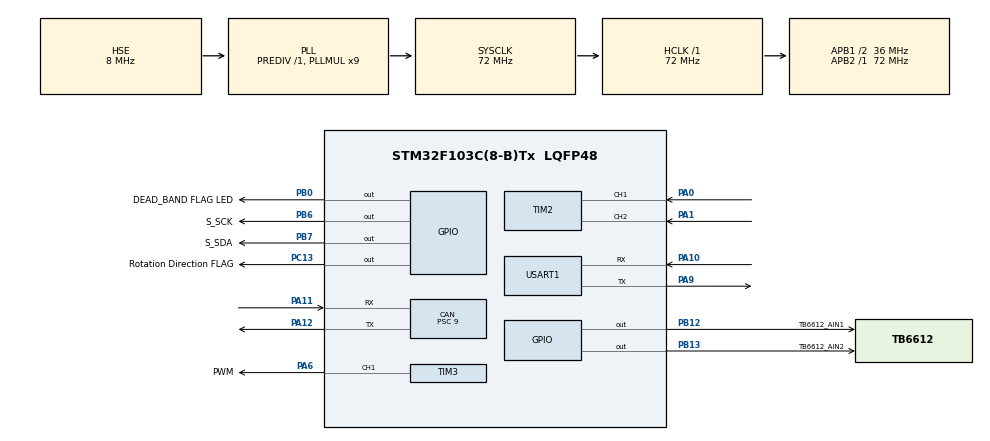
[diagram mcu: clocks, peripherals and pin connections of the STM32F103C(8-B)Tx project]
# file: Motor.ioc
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CAN.ABOM=ENABLE
CAN.BS1=CAN_BS1_6TQ
CAN.CalculateBaudRate=500000
CAN.CalculateTimeBit=2000
CAN.CalculateTimeQuantum=250.0
CAN.NART=ENABLE
CAN.Prescaler=9
FREERTOS.Tasks01=defaultTask,24,128,StartDefaultTask,Default,NULL,Dynamic,NULL,NULL;ControlTask,44,512,prvControlTask,Default,NULL,Dynamic,NULL,NULL;UartTask,43,256,prvUartTask,Default,NULL,Dynamic,NULL,NULL;OledTask,41,256,prvOledTask,Default,NULL,Dynamic,NULL,NULL;StatusReport,42,128,prvStatusReport,Default,NULL,Dynamic,NULL,NULL
FREERTOS.configCHECK_FOR_STACK_OVERFLOW=2
FREERTOS.configMAX_PRIORITIES=7
FREERTOS.configTOTAL_HEAP_SIZE=10240
Mcu.Family=STM32F1
Mcu.Name=STM32F103C(8-B)Tx
Mcu.Package=LQFP48
NVIC.CAN1_RX1_IRQn=true\:5\:0\:false\:false\:true\:true\:true\:true\:true
NVIC.PriorityGroup=NVIC_PRIORITYGROUP_4
NVIC.TIM4_IRQn=true\:15\:0\:false\:false\:true\:false\:false\:true\:true
NVIC.TimeBase=TIM4_IRQn
NVIC.TimeBaseIP=TIM4
NVIC.USART1_IRQn=true\:6\:0\:true\:false\:true\:true\:true\:true\:true
PA0-WKUP.GPIO_PuPd=GPIO_PULLUP
PA0-WKUP.Signal=S_TIM2_CH1_ETR
PA1.GPIO_PuPd=GPIO_PULLUP
PA1.Signal=S_TIM2_CH2
PA10.Mode=Asynchronous
PA10.Signal=USART1_RX
PA11.GPIO_PuPd=GPIO_PULLUP
PA11.Mode=CAN_Activate
PA11.Signal=CAN_RX
PA12.Mode=CAN_Activate
PA12.Signal=CAN_TX
PA13.Mode=Serial_Wire
PA13.Signal=SYS_JTMS-SWDIO
PA14.Mode=Serial_Wire
PA14.Signal=SYS_JTCK-SWCLK
PA6.GPIO_Label=PWM
PA6.Signal=S_TIM3_CH1
PA9.Mode=Asynchronous
PA9.Signal=USART1_TX
PB0.GPIO_Label=DEAD_BAND FLAG LED
PB0.Signal=GPIO_Output
PB12.GPIO_Label=TB6612_AIN1
PB12.Signal=GPIO_Output
PB13.GPIO_Label=TB6612_AIN2
PB13.Signal=GPIO_Output
PB6.GPIO_Label=S_SCK
PB6.GPIO_ModeDefaultOutputPP=GPIO_MODE_OUTPUT_PP
PB6.GPIO_PuPd=GPIO_NOPULL
PB6.GPIO_Speed=GPIO_SPEED_FREQ_HIGH
PB6.PinState=GPIO_PIN_SET
PB6.Signal=GPIO_Output
PB7.GPIO_Label=S_SDA
PB7.GPIO_ModeDefaultOutputPP=GPIO_MODE_OUTPUT_PP
PB7.GPIO_PuPd=GPIO_NOPULL
PB7.GPIO_Speed=GPIO_SPEED_FREQ_HIGH
PB7.PinState=GPIO_PIN_SET
PB7.Signal=GPIO_Output
PC13-TAMPER-RTC.GPIO_Label=Rotation Direction FLAG
PC13-TAMPER-RTC.GPIO_ModeDefaultOutputPP=GPIO_MODE_OUTPUT_OD
PC13-TAMPER-RTC.GPIO_PuPd=GPIO_NOPULL
PC13-TAMPER-RTC.GPIO_Speed=GPIO_SPEED_FREQ_LOW
PC13-TAMPER-RTC.PinState=GPIO_PIN_SET
PC13-TAMPER-RTC.Signal=GPIO_Output
PD0-OSC_IN.Mode=HSE-External-Oscillator
PD0-OSC_IN.Signal=RCC_OSC_IN
PD1-OSC_OUT.Mode=HSE-External-Oscillator
PD1-OSC_OUT.Signal=RCC_OSC_OUT
ProjectManager.HeapSize=0x200
ProjectManager.StackSize=0x400
ProjectManager.TargetToolchain=MDK-ARM V5.32
RCC.AHBFreq_Value=72000000
RCC.APB1CLKDivider=RCC_HCLK_DIV2
RCC.APB1Freq_Value=36000000
RCC.APB1TimFreq_Value=72000000
RCC.APB2Freq_Value=72000000
RCC.APB2TimFreq_Value=72000000
RCC.HCLKFreq_Value=72000000
RCC.PLLMUL=RCC_PLL_MUL9
RCC.PLLSourceVirtual=RCC_PLLSOURCE_HSE
RCC.SYSCLKFreq_VALUE=72000000
RCC.SYSCLKSource=RCC_SYSCLKSOURCE_PLLCLK
RCC.USBFreq_Value=72000000
SH.S_TIM2_CH1_ETR.0=TIM2_CH1,Encoder_Interface
SH.S_TIM2_CH2.0=TIM2_CH2,Encoder_Interface
SH.S_TIM3_CH1.0=TIM3_CH1,PWM Generation1 CH1
TIM2.EncoderMode=TIM_ENCODERMODE_TI12
TIM2.IC1Filter=6
TIM2.IC2Filter=10
TIM3.AutoReloadPreload=TIM_AUTORELOAD_PRELOAD_ENABLE
TIM3.Channel-PWM\ Generation1\ CH1=TIM_CHANNEL_1
TIM3.Period=1799
TIM3.Prescaler=3
USART1.VirtualMode=VM_ASYNC
VP_FREERTOS_VS_CMSIS_V2.Mode=CMSIS_V2
VP_SYS_VS_tim4.Mode=TIM4
VP_TIM3_VS_ClockSourceINT.Mode=Internal
board=custom

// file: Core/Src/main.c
/* USER CODE BEGIN Header */
/**
  ******************************************************************************
  * @file           : main.c
  * @brief          : Main program body
  ******************************************************************************
  * @attention
  *
  * Copyright (c) 2026 STMicroelectronics.
  * All rights reserved.
  *
  * This software is licensed under terms that can be found in the LICENSE file
  * in the root directory of this software component.
  * If no LICENSE file comes with this software, it is provided AS-IS.
  *
  ******************************************************************************
  */
/* USER CODE END Header */
#include "main.h"
#include "cmsis_os.h"
#include "can.h"
#include "tim.h"
#include "usart.h"
#include "gpio.h"

/* USER CODE BEGIN Includes */
#include <stdio.h>
#include "pid.h"
#include "my_u8g2.h"
#include "convention.h"

/* USER CODE END Includes */

/* USER CODE BEGIN PTD */
PID_InitTypeDef hpid = {0};
osMessageQueueId_t can_queue;
osMessageQueueId_t uart_queue;

/* USER CODE END PTD */

/* USER CODE BEGIN PD */
static uint8_t Rx_byte;
static CAN_struct CAN_Rx = {0};
static char Rx_USART1_cmd[30];
static uint8_t indexofcmd = 0;
u8g2_t u8g2;

/* USER CODE END PD */

void SystemClock_Config(void);
void MX_FREERTOS_Init(void);
/* USER CODE BEGIN PFP */
void HAL_UART_RxCpltCallback(UART_HandleTypeDef *huart);
void HAL_CAN_RxFifo1MsgPendingCallback(CAN_HandleTypeDef *can);
int fputc(int ch, FILE *f);

/* USER CODE END PFP */

int main(void)
{

  /* MCU Configuration--------------------------------------------------------*/

  /* Reset of all peripherals, Initializes the Flash interface and the Systick. */
  HAL_Init();

  /* Configure the system clock */
  SystemClock_Config();

  /* Initialize all configured peripherals */
  MX_GPIO_Init();
  MX_TIM2_Init();
  MX_TIM3_Init();
  MX_USART1_UART_Init();
  MX_CAN_Init();
  /* USER CODE BEGIN 2 */
	/* * * CAN 过滤器 * * */
	CAN_FilterTypeDef sFilterConfig;

	sFilterConfig.FilterBank = 0;
	sFilterConfig.FilterMode = CAN_FILTERMODE_IDMASK;
	sFilterConfig.FilterScale = CAN_FILTERSCALE_16BIT;
	sFilterConfig.FilterFIFOAssignment = CAN_FILTER_FIFO1;
	sFilterConfig.FilterActivation = ENABLE;
	sFilterConfig.FilterIdHigh = 0x010 << 5;
	sFilterConfig.FilterIdLow = 0x0000;
	sFilterConfig.FilterMaskIdHigh = 0x7F0 << 5;
	sFilterConfig.FilterMaskIdLow = 0x0000;

	HAL_CAN_ConfigFilter(&hcan, &sFilterConfig);
	HAL_CAN_Start(&hcan);
	HAL_CAN_ActivateNotification(&hcan, CAN_IT_RX_FIFO1_MSG_PENDING);
	/* * * CAN 过滤器 * * */
	PID_Init(&hpid);
	HAL_TIM_PWM_Start(&htim3, TIM_CHANNEL_1);
	HAL_TIM_Encoder_Start(&htim2, TIM_CHANNEL_ALL);
	u8g2Init(&u8g2);

	can_queue = osMessageQueueNew(5, sizeof(CAN_struct), NULL);
	uart_queue = osMessageQueueNew(5, sizeof(Rx_USART1_cmd), NULL);

	u8g2_SetFont(&u8g2, u8g2_font_6x10_tf);
	u8g2_DrawStr(&u8g2, 0, 12, "SYSTEM IS READY.");
	u8g2_DrawStr(&u8g2, 0, 24, "Set target speed send:");
	u8g2_DrawStr(&u8g2, 8, 36, "SET [target speed]"); // example：SET 50
	u8g2_DrawStr(&u8g2, 0, 48, "Set PID send:");
	u8g2_DrawStr(&u8g2, 8, 60, "KP[Kp] KI[Ki] KD[Kd]"); // example：KP36.0 KI1.7 KD0.0
	u8g2_SendBuffer(&u8g2);

	HAL_UART_Receive_IT(&huart1, &Rx_byte, 1);
  /* USER CODE END 2 */

  /* Init scheduler */
  osKernelInitialize();  /* Call init function for freertos objects (in cmsis_os2.c) */
  MX_FREERTOS_Init();

  /* Start scheduler */
  osKernelStart();

  /* We should never get here as control is now taken by the scheduler */

  /* Infinite loop */
  while (1)
  {

  }
}

void SystemClock_Config(void)
{
  RCC_OscInitTypeDef RCC_OscInitStruct = {0};
  RCC_ClkInitTypeDef RCC_ClkInitStruct = {0};

  /** Initializes the RCC Oscillators according to the specified parameters
  * in the RCC_OscInitTypeDef structure.
  */
  RCC_OscInitStruct.OscillatorType = RCC_OSCILLATORTYPE_HSE;
  RCC_OscInitStruct.HSEState = RCC_HSE_ON;
  RCC_OscInitStruct.HSEPredivValue = RCC_HSE_PREDIV_DIV1;
  RCC_OscInitStruct.HSIState = RCC_HSI_ON;
  RCC_OscInitStruct.PLL.PLLState = RCC_PLL_ON;
  RCC_OscInitStruct.PLL.PLLSource = RCC_PLLSOURCE_HSE;
  RCC_OscInitStruct.PLL.PLLMUL = RCC_PLL_MUL9;
  if (HAL_RCC_OscConfig(&RCC_OscInitStruct) != HAL_OK)
  {
    Error_Handler();
  }

  /** Initializes the CPU, AHB and APB buses clocks
  */
  RCC_ClkInitStruct.ClockType = RCC_CLOCKTYPE_HCLK|RCC_CLOCKTYPE_SYSCLK
                              |RCC_CLOCKTYPE_PCLK1|RCC_CLOCKTYPE_PCLK2;
  RCC_ClkInitStruct.SYSCLKSource = RCC_SYSCLKSOURCE_PLLCLK;
  RCC_ClkInitStruct.AHBCLKDivider = RCC_SYSCLK_DIV1;
  RCC_ClkInitStruct.APB1CLKDivider = RCC_HCLK_DIV2;
  RCC_ClkInitStruct.APB2CLKDivider = RCC_HCLK_DIV1;

  if (HAL_RCC_ClockConfig(&RCC_ClkInitStruct, FLASH_LATENCY_2) != HAL_OK)
  {
    Error_Handler();
  }
}

/* USER CODE BEGIN 4 */
void HAL_UART_RxCpltCallback(UART_HandleTypeDef *huart)
{
	if(huart->Instance == USART1)
	{
		Rx_USART1_cmd[indexofcmd++] = Rx_byte;
		if(Rx_byte == '\r' || Rx_byte == '\n' || indexofcmd == 29)
		{
			Rx_USART1_cmd[indexofcmd] = '\0';

			osMessageQueuePut(uart_queue, (void *)Rx_USART1_cmd, 0, 0);

			indexofcmd = 0;
			Rx_USART1_cmd[0] = '\0';
		}

		HAL_UART_Receive_IT(&huart1, &Rx_byte, 1);
	}
}

void HAL_CAN_RxFifo1MsgPendingCallback(CAN_HandleTypeDef *hcan)
{
	if(hcan->Instance == CAN1)
	{
		CAN_RxHeaderTypeDef RxHeader;

		if(HAL_CAN_GetRxMessage(hcan, CAN_RX_FIFO1, &RxHeader, CAN_Rx.Can_data) == HAL_OK)
		{
			CAN_Rx.Can_Id = RxHeader.StdId;
			osMessageQueuePut(can_queue, (void *)&CAN_Rx, 0, 0);
		}
	}
}

int fputc(int ch, FILE *f)
{
	HAL_UART_Transmit(&huart1, (uint8_t *)&ch, 1, HAL_MAX_DELAY);
	return ch;
}

/* USER CODE END 4 */

void HAL_TIM_PeriodElapsedCallback(TIM_HandleTypeDef *htim)
{
  if (htim->Instance == TIM4)
  {
    HAL_IncTick();
  }
}

void Error_Handler(void)
{
  __disable_irq();
  while (1)
  {
  }
}

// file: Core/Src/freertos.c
/* USER CODE BEGIN Header */
/**
  ******************************************************************************
  * File Name          : freertos.c
  * Description        : Code for freertos applications
  ******************************************************************************
  * @attention
  *
  * Copyright (c) 2026 STMicroelectronics.
  * All rights reserved.
  *
  * This software is licensed under terms that can be found in the LICENSE file
  * in the root directory of this software component.
  * If no LICENSE file comes with this software, it is provided AS-IS.
  *
  ******************************************************************************
  */
/* USER CODE END Header */

#include "FreeRTOS.h"
#include "task.h"
#include "main.h"
#include "cmsis_os.h"

/* USER CODE BEGIN Includes */
#include <stdio.h>
#include "pid.h"
#include "encoder.h"
#include "u8g2.h"
#include "tim.h"
//#include "drawPID.h"
#include "convention.h"
#include "can.h"

/* USER CODE END Includes */

/* USER CODE BEGIN PTD */
extern PID_InitTypeDef hpid;
extern osMessageQueueId_t can_queue;
extern osMessageQueueId_t uart_queue;

/* USER CODE END PTD */

/* USER CODE BEGIN PD */
static uint8_t UartNewCmd_flag = 0;
static uint8_t CanNewCmd_flag = 0;
static uint8_t Heart_flag = 0;
extern u8g2_t u8g2;
//static int8_t actual_buf[POINT_NUM];
//static int8_t target_buf[POINT_NUM];
static uint32_t last_HeartBeat = 0;
static CAN_struct CAN_Tx = {0};
static float last_speed = 0.0f;

/* USER CODE END PD */

/* Definitions for defaultTask */
osThreadId_t defaultTaskHandle;
const osThreadAttr_t defaultTask_attributes = {
  .name = "defaultTask",
  .stack_size = 128 * 4,
  .priority = (osPriority_t) osPriorityNormal,
};
/* Definitions for ControlTask */
osThreadId_t ControlTaskHandle;
const osThreadAttr_t ControlTask_attributes = {
  .name = "ControlTask",
  .stack_size = 512 * 4,
  .priority = (osPriority_t) osPriorityHigh4,
};
/* Definitions for UartTask */
osThreadId_t UartTaskHandle;
const osThreadAttr_t UartTask_attributes = {
  .name = "UartTask",
  .stack_size = 256 * 4,
  .priority = (osPriority_t) osPriorityHigh3,
};
/* Definitions for OledTask */
osThreadId_t OledTaskHandle;
const osThreadAttr_t OledTask_attributes = {
  .name = "OledTask",
  .stack_size = 256 * 4,
  .priority = (osPriority_t) osPriorityHigh1,
};
/* Definitions for StatusReport */
osThreadId_t StatusReportHandle;
const osThreadAttr_t StatusReport_attributes = {
  .name = "StatusReport",
  .stack_size = 128 * 4,
  .priority = (osPriority_t) osPriorityHigh2,
};

void StartDefaultTask(void *argument);
void prvControlTask(void *argument);
void prvUartTask(void *argument);
void prvOledTask(void *argument);
void prvStatusReport(void *argument);

void MX_FREERTOS_Init(void); /* (MISRA C 2004 rule 8.1) */

/* Hook prototypes */
void vApplicationStackOverflowHook(xTaskHandle xTask, signed char *pcTaskName);

/* USER CODE BEGIN 4 */
void vApplicationStackOverflowHook(xTaskHandle xTask, signed char *pcTaskName)
{
   /* Run time stack overflow checking is performed if
   configCHECK_FOR_STACK_OVERFLOW is defined to 1 or 2. This hook function is
   called if a stack overflow is detected. */
}
/* USER CODE END 4 */

void MX_FREERTOS_Init(void) {

  /* Create the thread(s) */
  /* creation of defaultTask */
  defaultTaskHandle = osThreadNew(StartDefaultTask, NULL, &defaultTask_attributes);

  /* creation of ControlTask */
  ControlTaskHandle = osThreadNew(prvControlTask, NULL, &ControlTask_attributes);

  /* creation of UartTask */
  UartTaskHandle = osThreadNew(prvUartTask, NULL, &UartTask_attributes);

  /* creation of OledTask */
  OledTaskHandle = osThreadNew(prvOledTask, NULL, &OledTask_attributes);

  /* creation of StatusReport */
  StatusReportHandle = osThreadNew(prvStatusReport, NULL, &StatusReport_attributes);

}

void StartDefaultTask(void *argument)
{
  for(;;)
  {
  }
}

void prvControlTask(void *argument)
{
  /* USER CODE BEGIN prvControlTask */
	TickType_t xlast_time = xTaskGetTickCount();

  /* Infinite loop */
  for(;;)
  {
		// #1.检查can队列
		static CAN_struct RxfromQueuebufStruct = {0};
		while(osMessageQueueGet(can_queue, (void *)&RxfromQueuebufStruct, NULL, 0) == osOK)
		{
			if(RxfromQueuebufStruct.Can_Id == CAN_ID_MASTER_HEARTBEAT)
			{
				last_HeartBeat = HAL_GetTick();
				Heart_flag = 1;
			}

			if(Heart_flag) // 心跳是否正常
			{
				if(RxfromQueuebufStruct.Can_Id == CAN_ID_MOTOR1_TARGET_SPEED)
				{
					static uint16_t u_target_speed = 0;

					u_target_speed = RxfromQueuebufStruct.Can_data[0] + (RxfromQueuebufStruct.Can_data[1] << 8);

					float target_speed = ((float)((int16_t)u_target_speed)) / 100.0f;

					PID_SetTarget_Speed(&hpid, target_speed);

					CanNewCmd_flag++;
				}
				else if(RxfromQueuebufStruct.Can_Id == CAN_ID_MOTOR1_PID)
				{
					static uint16_t temp_kp = 0, temp_ki = 0, temp_kd = 0;

					temp_kp = RxfromQueuebufStruct.Can_data[0] + (RxfromQueuebufStruct.Can_data[1] << 8);
					temp_ki = RxfromQueuebufStruct.Can_data[2] + (RxfromQueuebufStruct.Can_data[3] << 8);
					temp_kd = RxfromQueuebufStruct.Can_data[4] + (RxfromQueuebufStruct.Can_data[5] << 8);

					float can_kp = ((float)temp_kp) / 100.0f;
					float can_ki = ((float)temp_ki) / 100.0f;
					float can_kd = ((float)temp_kd) / 100.0f;

					PID_SetPID(&hpid, can_kp, can_ki ,can_kd);

					CanNewCmd_flag++;
				}
			}
		}

		if(HAL_GetTick() - last_HeartBeat >= EMERGENCY_TIME) // 长时间心跳丢失
		{
			Heart_flag = 0;
		}

		// #2.检查uart队列
		static char RxfromQueuebufArr[30];
		while(osMessageQueueGet(uart_queue, (void *)RxfromQueuebufArr, NULL, 0) == osOK)
		{
			static float temp_kp = 0.0f;
			static float temp_ki = 0.0f;
			static float temp_kd = 0.0f;
			static float target_speed = 0.0f;

			if(sscanf(RxfromQueuebufArr, "SET%f", &target_speed) == 1)
			{
				PID_SetTarget_Speed(&hpid, target_speed);
				UartNewCmd_flag++;
			}
			else if(sscanf(RxfromQueuebufArr, "KP%f KI%f KD%f", &temp_kp, &temp_ki, &temp_kd) == 3)
			{
				PID_SetPID(&hpid, temp_kp, temp_ki, temp_kd);
				UartNewCmd_flag++;
			}
		}

		// #3.获取当前速度
		float current_speed = GetCurrent_Speed(4, 11, 103, last_speed);
		last_speed = current_speed;

		// #4.更新当前速度
		PID_UpdateCurrent_Speed(&hpid, current_speed);

//		add_to_buf(actual_buf, hpid.Current_Speed);
//		add_to_buf(target_buf, hpid.Target_Speed);

		// #5.计算PWM，判断是否反转电机
		int16_t PWM = PID_Calc(&hpid);

		if(PWM >= 0.0f)
		{
			HAL_GPIO_WritePin(GPIOB, GPIO_PIN_12, GPIO_PIN_SET);
			HAL_GPIO_WritePin(GPIOB, GPIO_PIN_13, GPIO_PIN_RESET);
			HAL_GPIO_WritePin(GPIOC, GPIO_PIN_13, GPIO_PIN_RESET);
		}
		else
		{
			PWM = -PWM;
			HAL_GPIO_WritePin(GPIOB, GPIO_PIN_12, GPIO_PIN_RESET);
			HAL_GPIO_WritePin(GPIOB, GPIO_PIN_13, GPIO_PIN_SET);
			HAL_GPIO_WritePin(GPIOC, GPIO_PIN_13, GPIO_PIN_SET);
		}

		// #6.更新PWM占空比
		__HAL_TIM_SET_COMPARE(&htim3, TIM_CHANNEL_1, PWM);

		// #7.“睡”20ms
		vTaskDelayUntil(&xlast_time, pdMS_TO_TICKS(20));
	}

  /* USER CODE END prvControlTask */
}

void prvUartTask(void *argument)
{
  /* USER CODE BEGIN prvUartTask */
  /* Infinite loop */
  for(;;)
  {
    printf("%.2f,%.2f\r\n", hpid.Current_Speed, hpid.Target_Speed);
		osDelay(50);
  }
  /* USER CODE END prvUartTask */
}

void prvOledTask(void *argument)
{
  /* USER CODE BEGIN prvOledTask */
  /* Infinite loop */
  for(;;)
  {
		u8g2_ClearBuffer(&u8g2);

		// #1.是否有来自Master命令
		if(CanNewCmd_flag > 0)
		{
			u8g2_DrawStr(&u8g2, 0, 60, "CAN CMD SUCCESS.");

			CanNewCmd_flag = 0;
		}

		if(!Heart_flag) // 心跳丢失
		{
			u8g2_DrawStr(&u8g2, 0, 12, "MASTER ERROR!!");
			u8g2_DrawStr(&u8g2, 0, 24, "MASTER ERROR!!");
			u8g2_DrawStr(&u8g2, 0, 36, "MASTER ERROR!!");
			u8g2_DrawStr(&u8g2, 0, 48, "--ONLY UART NOW.");
		}
		else
		{
			u8g2_DrawStr(&u8g2, 0, 12, "MASTER RUNNING...");
			u8g2_DrawStr(&u8g2, 0, 24, "MASTER RUNNING...");
			u8g2_DrawStr(&u8g2, 0, 36, "MASTER RUNNING...");
			u8g2_DrawStr(&u8g2, 0, 48, "--MASTER OR UART.");
		}

		// #2.是否有来自串口新命令
		if(UartNewCmd_flag)
		{
			u8g2_DrawStr(&u8g2, 0, 60, "UART CMD SUCCESS.");

			UartNewCmd_flag = 0;
		}

		u8g2_SendBuffer(&u8g2);
//    draw_speed_curve(actual_buf, target_buf);
		osDelay(100);
  }
  /* USER CODE END prvOledTask */
}

void prvStatusReport(void *argument)
{
  /* USER CODE BEGIN prvStatusReport */
  /* Infinite loop */
  for(;;)
  {
		static CAN_TxHeaderTypeDef TxHeader;

		TxHeader.StdId = CAN_ID_MOTOR1_STATUS;
		TxHeader.IDE = CAN_ID_STD;
		TxHeader.DLC = CAN_DLC_MOTOR1_STATUS;
		TxHeader.RTR = CAN_RTR_DATA;
		TxHeader.TransmitGlobalTime = DISABLE;

		uint16_t PWM = __HAL_TIM_GET_COMPARE(&htim3, TIM_CHANNEL_1);
		uint16_t u_current_speed = (uint16_t)(hpid.Current_Speed * 100);

		CAN_Tx.Can_data[0] = PWM;
		CAN_Tx.Can_data[1] = PWM >> 8;
		CAN_Tx.Can_data[2] = u_current_speed;
		CAN_Tx.Can_data[3] = u_current_speed >> 8;

		static uint32_t txMailbox;

		HAL_CAN_AddTxMessage(&hcan, &TxHeader, CAN_Tx.Can_data, &txMailbox);
    osDelay(50);
  }
  /* USER CODE END prvStatusReport */
}
